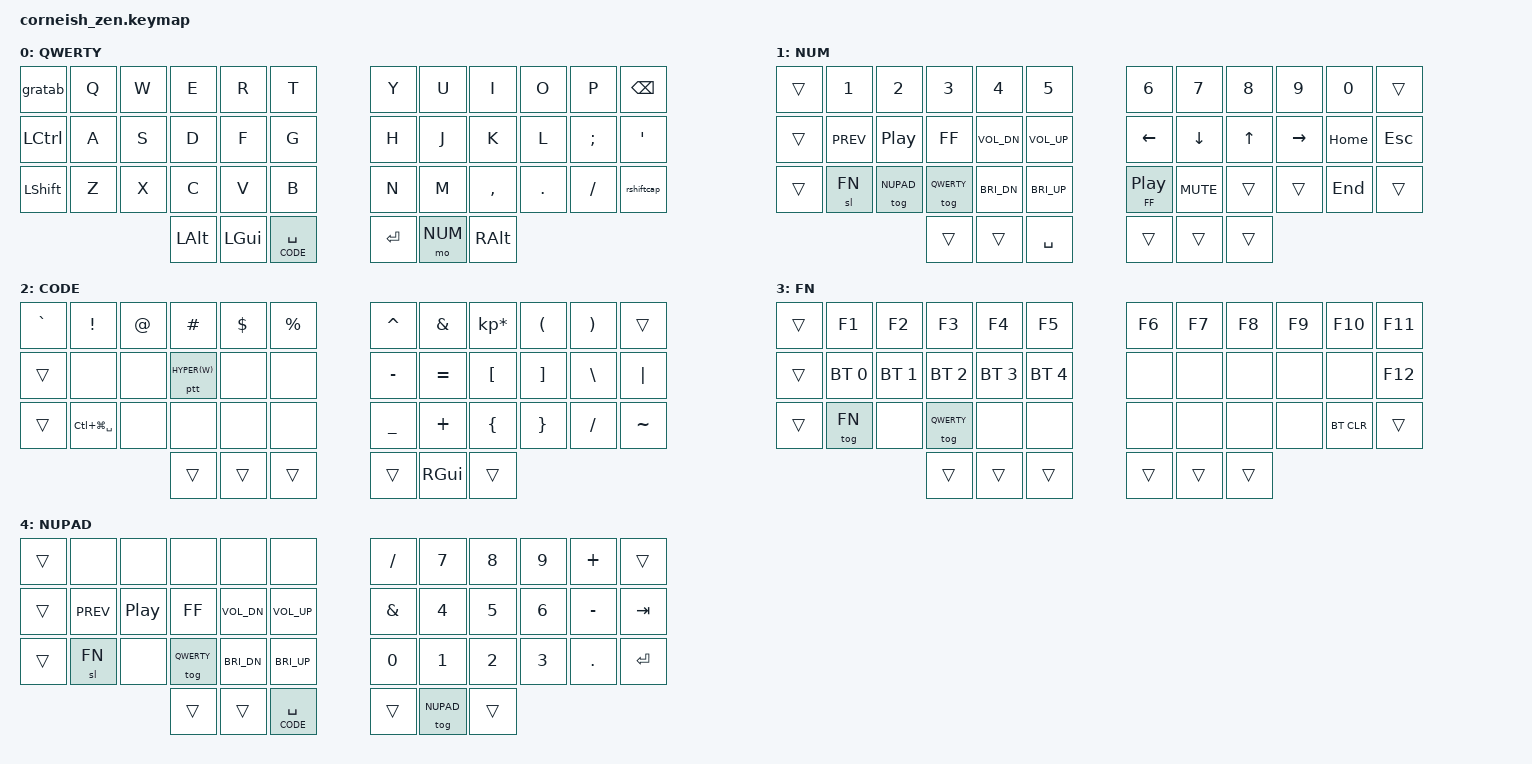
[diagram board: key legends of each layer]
/*
*
* Copyright (c) 2021 Darryl deHaan
* SPDX-License-Identifier: MIT
*
*/

/* Corne-ish Zen key positions
  ╭────────────────────────╮ ╭────────────────────────╮
  │  0   1   2   3   4   5 │ │  6   7   8   9  10  11 │
  │ 12  13  14  15  16  17 │ │ 18  19  20  21  22  23 │
  │ 24  25  26  27  28  29 │ │ 30  31  32  33  34  35 │
  ╰───────────╮ 36  37  38 │ │ 39  40  41 ╭───────────╯
              ╰────────────╯ ╰────────────╯            */

#include <behaviors.dtsi>
#include <dt-bindings/zmk/keys.h>
#include <dt-bindings/zmk/bt.h>

#define QWERTY 0
#define NUM    1
#define CODE   2
#define FN     3
#define NUPAD  4

// Hyper = Ctrl+Alt+Shift+Gui (⌃⌥⇧⌘). HYPER(key) emits that chord with key.
#define HYPER(key) LC(LA(LS(LG(key))))
// TypeWhisper on CODE pos 15: hold = Hyper+Q sustained (push-to-talk, via the
// ptt macro), tap = Hyper+W (toggle). First param is unused (ptt bakes in Q).
#define WHISPER &wsp 0 HYPER(W)

/ {
  chosen {
    zmk,physical-layout = &foostan_corne_6col_layout;
    //zmk,matrix_transform = &five_column_transform;
  };
  combos {
    compatible = "zmk,combos";
    combo_esc {
      key-positions = <0 1>;
      timeout-ms = <60>;
      layers = <QWERTY NUM CODE>;
      bindings = <&kp ESC>;
    };
    // Right-hand Escape on the home row (J K L semicolon).
    combo_right_esc {
      key-positions = <19 20 21 22>;
      timeout-ms = <60>;
      layers = <QWERTY>;
      bindings = <&kp ESC>;
    };
    combo_scrnsht_all {
      timeout-ms = <150>;
      key-positions = <3 24 37>;
      bindings = <&kp LS(RG(N3))>;
    };
    combo_scrnsht_area {
      timeout-ms = <150>;
      key-positions = <4 24 37>;
      bindings = <&kp LS(RG(N4))>;
    };
    combo_scrnsht_window {
      timeout-ms = <150>;
      key-positions = <5 24 37>;
      bindings = <&kp LS(RG(N5))>;
    };
    combo_caps_lock {
      timeout-ms = <60>;
      key-positions = <12 13 14>;
      layers = <0 1 2>;
      bindings = <&kp CAPS>;
    };
    combo_combo_del {
      timeout-ms = <60>;
      key-positions = <11 40>;
      bindings = <&kp LG(BSPC)>;
    };
  };
  macros {
    // Push-to-talk: press Hyper+Q with EXPLICIT modifiers and hold until the
    // key is released. Implicit mods via &kp HYPER(Q) don't stay cleanly held
    // for a sustained chord; explicit presses do. Hold branch of wsp.
    ptt: ptt {
      compatible = "zmk,behavior-macro";
      #binding-cells = <0>;
      bindings
        = <&macro_press &kp LCTRL &kp LALT &kp LSHFT &kp LGUI &kp Q>
        , <&macro_pause_for_release>
        , <&macro_release &kp LCTRL &kp LALT &kp LSHFT &kp LGUI &kp Q>;
    };
  };
  behaviors {
    gratab: grave_tab {
      compatible = "zmk,behavior-mod-morph";
      label = "GRAVE_TAB";
      #binding-cells = <0>;
      bindings = <&kp TAB>, <&kp GRAVE>;
      mods = <(MOD_RALT|MOD_LALT)>;
      keep-mods = <(MOD_RALT|MOD_LALT)>;
    };
    // single tap shift, double tap caps word
    rshiftcap: r_shift_caps_word {
      compatible = "zmk,behavior-tap-dance";
      #binding-cells = <0>;
      tapping-term-ms = <300>;
      bindings = <&kp RSHFT>, <&caps_word>;
    };
    tdn: tap_dance_num_pad {
      compatible = "zmk,behavior-tap-dance";
      #binding-cells = <0>;
      tapping-term-ms = <300>;
      bindings = <&mo NUM>, <&to NUPAD>;
    };
    // TypeWhisper on one key (CODE pos 15): hold = ptt macro (Hyper+Q held
    // for push-to-talk), tap = Hyper+W (toggle). First param feeds ptt and is
    // ignored; second is the tap chord.
    wsp: whisper_ptt_toggle {
      compatible = "zmk,behavior-hold-tap";
      label = "WSP";
      #binding-cells = <2>;
      tapping-term-ms = <200>;
      flavor = "hold-preferred";
      bindings = <&ptt>, <&kp>;
    };
  };
  keymap {
    compatible = "zmk,keymap";
    default_layer {
      label = "QWERTY";

// --------------------------------------------------------------------------------------
// | TAB ⌥ (`) |  Q  |  W  |  E  |  R  |  T    |      |  Y  |  U   |  I    |  O  |  P  | BKSP  |
// |   CTRL    |  A  |  S  |  D  |  F  |  G    |      |  H  |  J   |  K    |  L  |  ;  |  '    |
// |   SHFT    |  Z  |  X  |  C  |  V  |  B    |      |  N  |  M   |  ,    |  .  |  /  | SHFT  |
//                         |  ⌥  |  ⌘  | SPC 2 |      | RET | NUM  |   ⌥   |
      bindings = <
// ╭─────────────┬─────────────┬─────────────┬──────────────┬──────────────┬──────────────╮   ╭──────────────┬──────────────┬──────────────┬──────────────┬──────────────┬──────────────╮
     &gratab       &kp Q         &kp W         &kp E          &kp R          &kp T              &kp Y          &kp U          &kp I          &kp O          &kp P          &kp BSPC
// ├─────────────┼─────────────┼─────────────┼──────────────┼──────────────┼──────────────┤   ├──────────────┼──────────────┼──────────────┼──────────────┼──────────────┼──────────────┤
     &kp LCTRL     &kp A         &kp S         &kp D          &kp F          &kp G              &kp H          &kp J          &kp K          &kp L          &kp SEMI       &kp SQT
// ├─────────────┼─────────────┼─────────────┼──────────────┼──────────────┼──────────────┤   ├──────────────┼──────────────┼──────────────┼──────────────┼──────────────┼──────────────┤
     &kp LSHFT     &kp Z         &kp X         &kp C          &kp V          &kp B              &kp N          &kp M          &kp COMMA      &kp DOT        &kp FSLH       &rshiftcap
// ╰─────────────┴─────────────┴─────────────┼──────────────┼──────────────┼──────────────┤   ├──────────────┼──────────────┼──────────────┼──────────────┴──────────────┴──────────────╯
                                               &kp LALT       &kp LGUI       &lt CODE SPACE     &kp RET        &mo NUM        &kp RALT
//                                           ╰──────────────┴──────────────┴──────────────╯   ╰──────────────┴──────────────┴──────────────╯
      >;
    };

    num_layer {
      label = "NUM";

// ----------------------------------------------------------------------------------
// | TAB  |  1   |  2     |    3     |  4  |  5  |      |  6  |  7   |  8    |  9  |  0  | BKSP   |
// | CTRL |  |<  |  ▶II   |    >|    | V↓  | V↑  |      | LFT | DWN  |  UP   | RGT | HOM | ESC    |
// | SHFT | S FN |T NUPAD | T QWERTY | ☀️↓ | ☀️↑ |      | ▶II | VM   |  ,    |  .  | END | SHFT   |
//                        |  ⌥       |  ⌘  | SPC |      | RET | NUM  |   ⌥   |
      bindings = <
// ╭─────────────┬─────────────┬─────────────┬──────────────┬──────────────┬──────────────╮   ╭──────────────┬──────────────┬──────────────┬──────────────┬──────────────┬──────────────╮
     &trans        &kp N1        &kp N2        &kp N3         &kp N4         &kp N5             &kp N6         &kp N7         &kp N8         &kp N9         &kp N0         &trans
// ├─────────────┼─────────────┼─────────────┼──────────────┼──────────────┼──────────────┤   ├──────────────┼──────────────┼──────────────┼──────────────┼──────────────┼──────────────┤
     &trans        &kp C_PREV    &kp C_PP      &kp C_FF       &kp C_VOL_DN   &kp C_VOL_UP       &kp LEFT       &kp DOWN       &kp UP         &kp RIGHT      &kp HOME       &kp ESC
// ├─────────────┼─────────────┼─────────────┼──────────────┼──────────────┼──────────────┤   ├──────────────┼──────────────┼──────────────┼──────────────┼──────────────┼──────────────┤
     &trans        &sl FN        &tog NUPAD         &tog QWERTY    &kp C_BRI_DN   &kp C_BRI_UP       &mt C_FF C_PP  &kp C_MUTE     &trans         &trans         &kp END        &trans
// ╰─────────────┴─────────────┴─────────────┼──────────────┼──────────────┼──────────────┤   ├──────────────┼──────────────┼──────────────┼──────────────┴──────────────┴──────────────╯
                                               &trans         &trans         &kp SPACE          &trans         &trans         &trans
//                                           ╰──────────────┴──────────────┴──────────────╯   ╰──────────────┴──────────────┴──────────────╯
      >;
    };

    code_layer {
      label = "CODE";

// ----------------------------------------------------------------------------------
// |  `   |  !  |  @  |  #  |  $  |  %    |      |  ^  |  &  |  *  |  (  |  )  | BKSP |
// | CTRL |     |     | 🎙  |     |       |      |  -  |  =  |  [  |  ]  |  \  |  "|" |
// | SHFT | 😀  |     |     |     |       |      |  _  |  +  |  {  |  }  |  /  |  ~   |
//                    |  ⌥  |  ⌘  | SPC 2 |      | RET |  ⌘  |   ⌥   |
      bindings = <
// ╭─────────────┬─────────────┬─────────────┬──────────────┬──────────────┬──────────────╮   ╭──────────────┬──────────────┬──────────────┬──────────────┬──────────────┬──────────────╮
     &kp GRAVE     &kp EXCL      &kp AT        &kp HASH       &kp DLLR       &kp PRCNT          &kp CARET      &kp AMPS       &kp KP_MULTIPLY &kp LPAR       &kp RPAR       &trans
// ├─────────────┼─────────────┼─────────────┼──────────────┼──────────────┼──────────────┤   ├──────────────┼──────────────┼──────────────┼──────────────┼──────────────┼──────────────┤
     &trans        &none         &none         WHISPER        &none          &none              &kp MINUS      &kp EQUAL      &kp LBKT       &kp RBKT       &kp BSLH       &kp PIPE
// ├─────────────┼─────────────┼─────────────┼──────────────┼──────────────┼──────────────┤   ├──────────────┼──────────────┼──────────────┼──────────────┼──────────────┼──────────────┤
     &trans        &kp LC(LG(SPACE)) &none      &none          &none          &none              &kp UNDER      &kp PLUS       &kp LBRC       &kp RBRC       &kp FSLH       &kp TILDE
// ╰─────────────┴─────────────┴─────────────┼──────────────┼──────────────┼──────────────┤   ├──────────────┼──────────────┼──────────────┼──────────────┴──────────────┴──────────────╯
                                               &trans         &trans         &trans             &trans         &kp RGUI       &trans
//                                           ╰──────────────┴──────────────┴──────────────╯   ╰──────────────┴──────────────┴──────────────╯
      >;
    };

    function_layer {
      label = "FN";

// ---------------------------------------------------------------------------------
// | TAB  | F1   | F2     | F3       | F4  | F5    |      | F6  | F7  | F8  | F9  | F10   |  F11  |
// | CTRL | BT1  | BT2    | BT3      | BT4 | BT5   |      |     |     |     |     |       |  F12  |
// | SHFT | T FN |        | T QWERTY |     |       |      |     |     |     |     | BTCLR |  SHFT |
//                        |    ⌥     |  ⌘  | SPC 2 |      | RET |  ⌘  |  ⌥  |
      bindings = <
// ╭─────────────┬─────────────┬─────────────┬──────────────┬──────────────┬──────────────╮   ╭──────────────┬──────────────┬──────────────┬──────────────┬──────────────┬──────────────╮
     &trans        &kp F1        &kp F2        &kp F3         &kp F4         &kp F5             &kp F6         &kp F7         &kp F8         &kp F9         &kp F10        &kp F11
// ├─────────────┼─────────────┼─────────────┼──────────────┼──────────────┼──────────────┤   ├──────────────┼──────────────┼──────────────┼──────────────┼──────────────┼──────────────┤
     &trans        &bt BT_SEL 0  &bt BT_SEL 1  &bt BT_SEL 2   &bt BT_SEL 3   &bt BT_SEL 4       &none          &none          &none          &none          &none          &kp F12
// ├─────────────┼─────────────┼─────────────┼──────────────┼──────────────┼──────────────┤   ├──────────────┼──────────────┼──────────────┼──────────────┼──────────────┼──────────────┤
     &trans        &tog FN       &none         &tog QWERTY    &none          &none              &none          &none          &none          &none          &bt BT_CLR     &trans
// ╰─────────────┴─────────────┴─────────────┼──────────────┼──────────────┼──────────────┤   ├──────────────┼──────────────┼──────────────┼──────────────┴──────────────┴──────────────╯
                                               &trans         &trans         &trans             &trans         &trans         &trans
//                                           ╰──────────────┴──────────────┴──────────────╯   ╰──────────────┴──────────────┴──────────────╯
      >;
    };

    nupad_layer {
      label = "NUPAD";

// ----------------------------------------------------------------------------------
// | TAB  |      |        |          |     |     |      |  /  |  7   |  8    |  9  |  +  | BKSP |
// | CTRL |  |<  |  ▶II   |    >|    | V↓  | V↑  |      |  *  |  4   |  5    |  6  |  -  | TAB  |
// | SHFT | S FN |        | T QWERTY | ☀️↓ | ☀️↑ |      |  0  |  1   |  2    |  3  |  .  | RET  |
//                        |  ⌥       |  ⌘  | SPC |      | RET | NUM  |   ⌥   |
      bindings = <
// ╭─────────────┬─────────────┬─────────────┬──────────────┬──────────────┬──────────────╮   ╭──────────────┬──────────────┬──────────────┬──────────────┬──────────────┬──────────────╮
     &trans        &none         &none         &none          &none          &none              &kp FSLH       &kp N7         &kp N8         &kp N9         &kp PLUS       &trans
// ├─────────────┼─────────────┼─────────────┼──────────────┼──────────────┼──────────────┤   ├──────────────┼──────────────┼──────────────┼──────────────┼──────────────┼──────────────┤
     &trans        &kp C_PREV    &kp C_PP      &kp C_FF       &kp C_VOL_DN   &kp C_VOL_UP       &kp AMPS       &kp N4         &kp N5         &kp N6         &kp MINUS      &kp TAB
// ├─────────────┼─────────────┼─────────────┼──────────────┼──────────────┼──────────────┤   ├──────────────┼──────────────┼──────────────┼──────────────┼──────────────┼──────────────┤
     &trans        &sl FN        &none         &tog QWERTY    &kp C_BRI_DN   &kp C_BRI_UP       &kp N0         &kp N1         &kp N2         &kp N3         &kp DOT        &kp RET
// ╰─────────────┴─────────────┴─────────────┼──────────────┼──────────────┼──────────────┤   ├──────────────┼──────────────┼──────────────┼──────────────┴──────────────┴──────────────╯
                                               &trans         &trans         &lt CODE SPACE     &trans         &tog NUPAD     &trans
//                                           ╰──────────────┴──────────────┴──────────────╯   ╰──────────────┴──────────────┴──────────────╯
        >;
    };
  };
};
